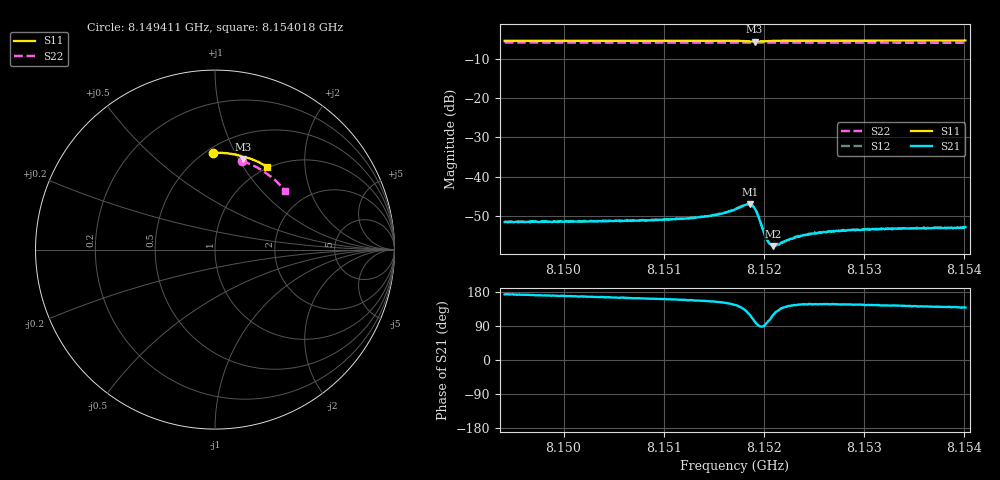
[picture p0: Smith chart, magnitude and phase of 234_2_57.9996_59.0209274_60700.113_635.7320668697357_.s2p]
#  HZ  S  RI  R  50.00
! Rohde & Schwarz Vector Network Analyzer
! Rohde-Schwarz,ZNB20-2Port,1311601062101988,3.16
! Created: UTC 3/21/2024, 1:00:47 AM
! freq[Hz]  re:S11  im:S11  re:S21  im:S21  re:S12  im:S12  re:S22  im:S22
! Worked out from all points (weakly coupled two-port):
!   401 points, 8.149411 GHz to 8.154018 GHz, reference 50 ohm
!   highest |S21| = -47.03 dB at 8.151864 GHz (marker M1); lowest = -57.7 dB at 8.152094 GHz (marker M2)
!   lowest |S11| = -5.5 dB at 8.15191 GHz (marker M3), VSWR 3.24, Z = 37.3 + j52.2 ohm
!   |S11| at or under -10 dB: nowhere
!   |S22| runs from -5.9 to -5.7 dB; largest |S21 - S12| = 0.00014
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8.1494106e9  -0.011 0.539  -0.00261 0.000313  -0.00265 0.00036  0.149 0.4936
8.1501822e9  0.0429 0.5387  -0.00259 0.000553  -0.00261 0.000586  0.196 0.476
8.1509539e9  0.0967 0.5328  -0.00265 0.000908  -0.00264 0.00094  0.2408 0.4542
8.1512764e9  0.1194 0.5285  -0.00274 0.0011  -0.00273 0.00118  0.2588 0.4437
8.1514261e9  0.1302 0.5258  -0.00283 0.00129  -0.00282 0.00133  0.267 0.4385
8.1515759e9  0.1413 0.5227  -0.00297 0.00156  -0.00298 0.00162  0.275 0.4333
8.1517141e9  0.1521 0.5178  -0.00314 0.00216  -0.00316 0.00226  0.2825 0.4281
8.1518293e9  0.1591 0.5096  -0.00274 0.00346  -0.00269 0.00352  0.2884 0.4237
8.1518638e9  0.1588 0.5061  -0.00212 0.00392  -0.00206 0.00394  0.29 0.4222
8.1518868e9  0.1576 0.5047  -0.00148 0.00402  -0.00143 0.00407  0.291 0.4216
8.1519099e9  0.1559 0.5044  -0.000816 0.00386  -0.000772 0.00392  0.2922 0.4209
8.1519444e9  0.1542 0.5064  -0.00011 0.00318  -6.31e-05 0.00323  0.2938 0.4196
8.1520251e9  0.1583 0.5122  -0.000183 0.00163  -0.000115 0.00163  0.2981 0.4168
8.1520596e9  0.1615 0.5133  -0.000374 0.00134  -0.000348 0.00133  0.2999 0.4155
8.1520942e9  0.1647 0.5135  -0.000631 0.00114  -0.000637 0.00116  0.3017 0.4142
8.1521402e9  0.1688 0.5135  -0.000862 0.00105  -0.000891 0.00107  0.304 0.4124
8.1523245e9  0.1834 0.5108  -0.0014 0.00099  -0.00137 0.000993  0.3136 0.4052
8.1524858e9  0.1949 0.5071  -0.00156 0.00103  -0.00153 0.00103  0.3215 0.3986
8.1527276e9  0.2112 0.5012  -0.00172 0.00111  -0.00171 0.00115  0.3332 0.3884
8.1528313e9  0.2181 0.4985  -0.00171 0.00113  -0.00169 0.00117  0.3383 0.3839
8.1532574e9  0.2456 0.4865  -0.00174 0.00127  -0.00174 0.0013  0.3576 0.3651
8.1540176e9  0.2919 0.4614  -0.0017 0.0015  -0.00166 0.00151  0.3896 0.329
